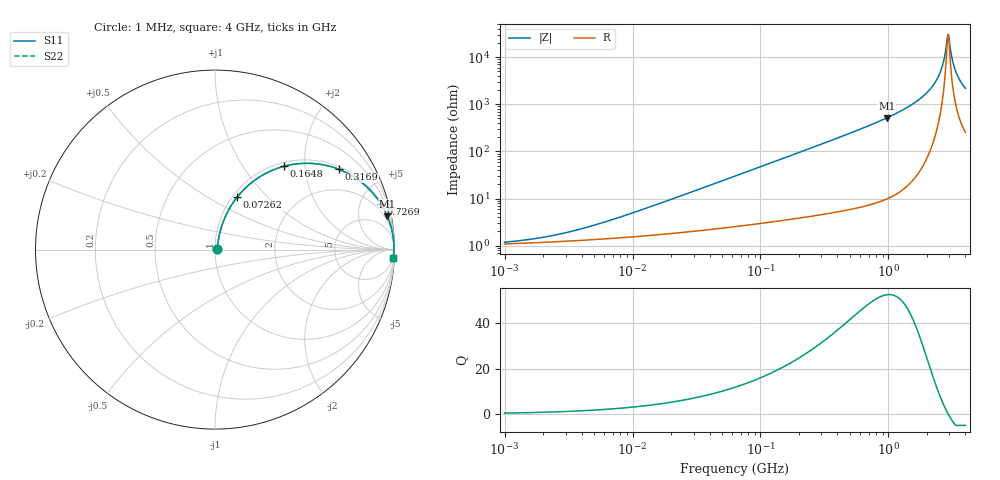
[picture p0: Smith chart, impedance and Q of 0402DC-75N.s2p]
# MHz  S  MA  R  50
!Freq  MagS11  AngS11  MagS21  AngS21  MagS12  AngS12  MagS22  AngS22
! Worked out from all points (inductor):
!   801 points, 1 MHz to 4 GHz, reference 50 ohm
!   read as one part in series: L = 75 nH near 9.803 MHz
!   highest Q = 52.5 at 971.9 MHz (marker M1), where L = 84.2 nH
!   self-resonance near 2.919 GHz
!   S11 on the Smith chart (normalised r, x): 1 MHz: 1.02, +0.01; 72.62 MHz: 1.05, +0.68; 164.8 MHz: 1.07, +1.56; 316.9 MHz: 1.09, +3.02; 726.9 MHz: 1.15, +7.30; 4 GHz: 6, -43
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1  0.01174 23.1  0.9892 -0.3  0.9892 -0.3  0.01174 23.1
2.024994  0.01497 38.5  0.9883 -0.5  0.9883 -0.5  0.01497 38.5
4.016383  0.02265 54.5  0.987 -1.1  0.987 -1.1  0.02265 54.5
15.96482  0.07565 73.0  0.9805 -4.2  0.9805 -4.2  0.07565 73.0
63.45894  0.2811 68.9  0.9363 -16.3  0.9363 -16.3  0.2811 68.9
72.62294  0.3174 67.1  0.9241 -18.4  0.9241 -18.4  0.3174 67.1
164.8414  0.6019 50.4  0.7716 -37.0  0.7716 -37.0  0.6019 50.4
252.2445  0.7548 39.0  0.6299 -49.0  0.6299 -49.0  0.7548 39.0
316.9267  0.8225 32.9  0.544 -55.3  0.544 -55.3  0.8225 32.9
726.8711  0.9595 15.2  0.2629 -73.6  0.2629 -73.6  0.9595 15.2
971.923  0.9782 11.0  0.1901 -78.0  0.1901 -78.0  0.9782 11.0
1013.11  0.9801 10.4  0.1808 -78.5  0.1808 -78.5  0.9801 10.4
1615.985  0.9936 5.2  0.09087 -83.3  0.09087 -83.3  0.9936 5.2
2183.323  0.9967 2.5  0.04326 -84.4  0.04326 -84.4  0.9967 2.5
2577.613  0.9971 1.1  0.01892 -80.5  0.01892 -80.5  0.9971 1.1
2686.845  0.997 0.7  0.01302 -76.5  0.01302 -76.5  0.997 0.7
2859.434  0.9969 0.2  0.004852 -49.7  0.004852 -49.7  0.9969 0.2
2919.392  0.9968 0.0  0.00329 -12.7  0.00329 -12.7  0.9968 0.0
3011.696  0.9966 -0.2  0.005032 48.0  0.005032 48.0  0.9966 -0.2
3205.151  0.9963 -0.7  0.01324 73.2  0.01324 73.2  0.9963 -0.7
3375.823  0.9958 -1.2  0.02061 77.7  0.02061 77.7  0.9958 -1.2
4000  0.9937 -2.6  0.04544 80.7  0.04544 80.7  0.9937 -2.6
